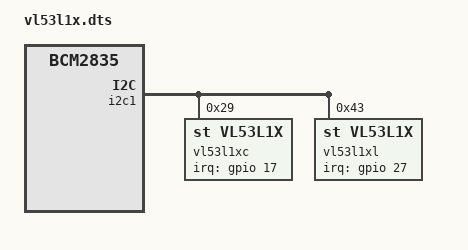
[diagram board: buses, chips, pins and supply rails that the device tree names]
/dts-v1/;
/plugin/;
/{
	compatible = "brcm,bcm2835";
	fragment@0 {
		target = <&i2c1>;
		__overlay__ {
			#address-cells = <1>;
			#size-cells = <0>;

			 vl53l1xc: vl53l1xc@29 {
				compatible = "st,vl53l1x";
				reg = <0x29>;
				status = "okay";
				interrupt-parent = <&gpio>;
				interrupts = <17 1>;
			};
			 vl53l1xl: vl53l1xl@43 {
				compatible = "st,vl53l1x";
				reg = <0x43>;
				status = "okay";
				interrupt-parent = <&gpio>;
				interrupts = <27 1>;
			};
		};
	};
};
